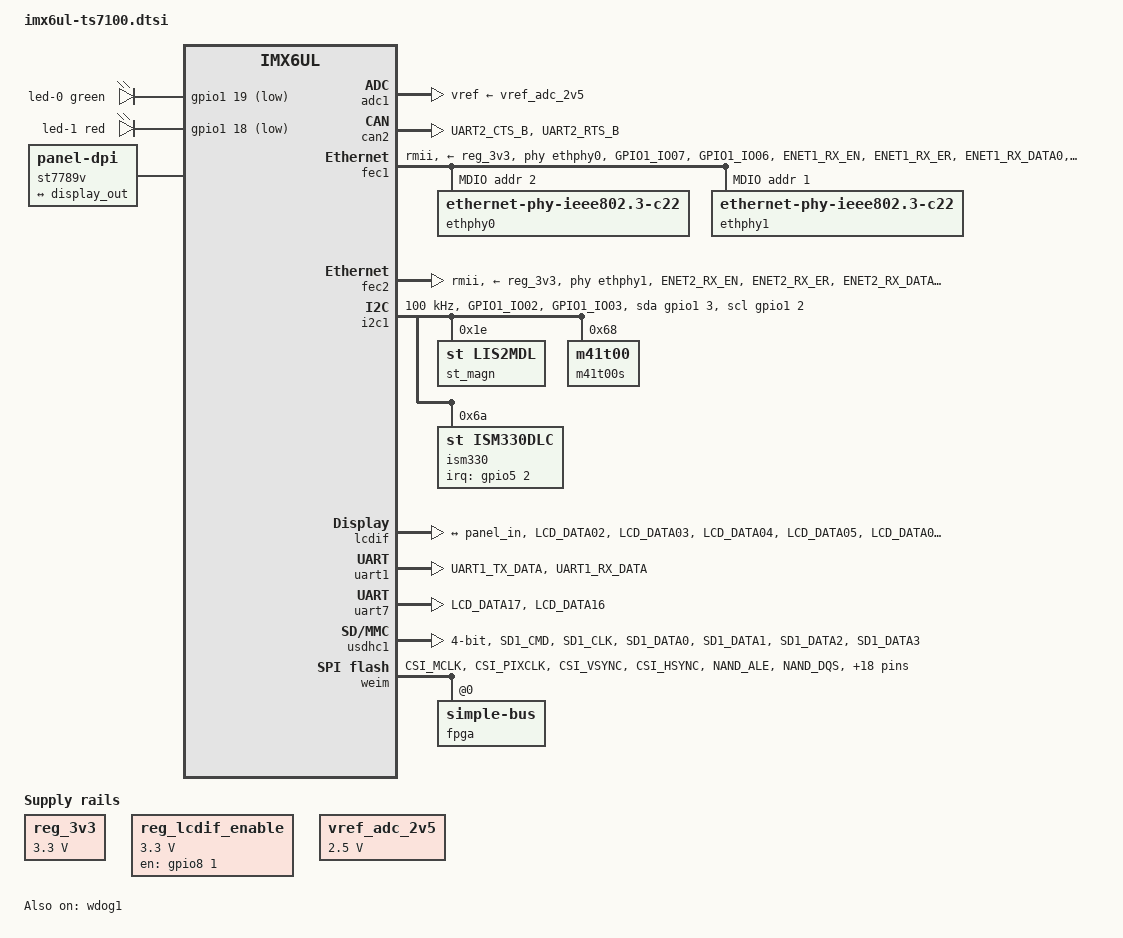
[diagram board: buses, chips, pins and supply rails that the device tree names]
// SPDX-License-Identifier: GPL-2.0+ or X11
/*
 * Copyright (C) 2023 Technologic Systems, Inc. dba embeddedTS
 */

#include <dt-bindings/input/input.h>
#include <dt-bindings/leds/common.h>
#include "imx6ul.dtsi"

/ {
	chosen {
		stdout-path = &uart1;
	};

	memory {
		/* Set by u-boot */
		reg = <0x80000000 0>;
	};

	leds {
		pinctrl-names = "default";
		pinctrl-0 = <&pinctrl_cpu_leds>;
		compatible = "gpio-leds";

		led-0 {
			color = <LED_COLOR_ID_GREEN>;
			function = LED_FUNCTION_POWER;
			gpios = <&gpio1 19 GPIO_ACTIVE_LOW>;
			default-state = "on";
		};

		led-1 {
			color = <LED_COLOR_ID_RED>;
			function = LED_FUNCTION_STATUS;
			gpios = <&gpio1 18 GPIO_ACTIVE_LOW>;
			default-state = "off";
		};
	};

	reg_3v3: rev_3v3 {
		compatible = "regulator-fixed";
		regulator-name = "3V3";
		regulator-min-microvolt = <3300000>;
		regulator-max-microvolt = <3300000>;
	};

	reg_lcdif_enable: en-lcdif {
		compatible = "regulator-fixed";
		regulator-name = "LCDIF_EN";
		regulator-min-microvolt = <3300000>;
		regulator-max-microvolt = <3300000>;
		gpio = <&gpio8 1 GPIO_ACTIVE_HIGH>;
		enable-active-high;
		regulator-boot-on;
		regulator-always-on;
	};

	vref_adc_2v5: adc {
		compatible = "regulator-fixed";
		regulator-name = "ADC_VREF";
		regulator-min-microvolt = <2500000>;
		regulator-max-microvolt = <2500000>;
		regulator-boot-on;
		regulator-always-on;
	};

	panel {
		label = "st7789v";
		compatible = "panel-dpi";
		panel-timing {
			clock-frequency = <7000000>;
			hactive = <240>;
			vactive = <320>;
			hfront-porch = <38>;
			hback-porch = <10>;
			hsync-len = <10>;
			vback-porch = <4>;
			vfront-porch = <8>;
			vsync-len = <4>;
			hsync-active = <0>;
			vsync-active = <0>;
			de-active = <1>;
		};

		port {
			panel_in: endpoint {
				remote-endpoint = <&display_out>;
			};
		};
	};
};

&adc1 {
	pinctrl-names = "default";
	pinctrl-0 = <&pinctrl_adc1>;
	vref-supply = <&vref_adc_2v5>;
	status = "okay";
};

&can2 {
	pinctrl-names = "default";
	pinctrl-0 = <&pinctrl_flexcan2>;
	status = "okay";
};

&fec1 {
	pinctrl-names = "default";
	pinctrl-0 = <&pinctrl_enet1>;
	phy-mode = "rmii";
	phy-handle = <&ethphy0>;
	phy-supply = <&reg_3v3>;
	status = "okay";

	mdio {
		#address-cells = <1>;
		#size-cells = <0>;

		ethphy0: ethernet-phy@0 {
			clocks = <&clks IMX6UL_CLK_ENET_REF>;
			clock-names = "rmii-ref";
			compatible = "ethernet-phy-ieee802.3-c22";
			reg = <2>;
		};

		ethphy1: ethernet-phy@1 {
			clocks = <&clks IMX6UL_CLK_ENET_REF>;
			clock-names = "rmii-ref";
			compatible = "ethernet-phy-ieee802.3-c22";
			reg = <1>;
		};
	};
};

&fec2 {
	pinctrl-names = "default";
	pinctrl-0 = <&pinctrl_enet2>;
	phy-mode = "rmii";
	phy-handle = <&ethphy1>;
	phy-supply = <&reg_3v3>;
	status = "okay";
};

&i2c1 {
	clock-frequency = <100000>;
	pinctrl-names = "default", "gpio";
	pinctrl-0 = <&pinctrl_i2c1>;
	pinctrl-1 = <&pinctrl_i2c1_gpio>;
	scl-gpios = <&gpio1 2 (GPIO_ACTIVE_HIGH | GPIO_OPEN_DRAIN)>;
	sda-gpios = <&gpio1 3 (GPIO_ACTIVE_HIGH | GPIO_OPEN_DRAIN)>;
	status = "okay";

	st_magn: magnetometer@1e {
		compatible = "st,lis2mdl";
		reg = <0x1e>;
		st,drdy-int-pin = <1>;
	};

	m41t00s: rtc@68 {
		compatible = "m41t00";
		reg = <0x68>;
	};

	ism330: gyro@6a {
		compatible = "st,ism330dlc";
		pinctrl-names = "default";
		pinctrl-0 = <&pinctrl_ism330>;
		reg = <0x6a>;
		interrupt-parent = <&gpio5>;
		interrupts = <2 IRQ_TYPE_LEVEL_HIGH>;
	};
};

&iomuxc {
	imx6ul-ts7100 {
		pinctrl_cpu_leds: cpuledgrp {
			fsl,pins = <
				/* Red LED */
				MX6UL_PAD_UART1_CTS_B__GPIO1_IO18	0x1b020
				/* Green LED */
				MX6UL_PAD_UART1_RTS_B__GPIO1_IO19	0x1b020
			>;
		};

		pinctrl_enet1: enet1grp {
			fsl,pins = <
				MX6UL_PAD_GPIO1_IO07__ENET1_MDC		0x1b0b0
				MX6UL_PAD_GPIO1_IO06__ENET1_MDIO	0x1b0b0
				MX6UL_PAD_ENET1_RX_EN__ENET1_RX_EN	0x1b0b0
				MX6UL_PAD_ENET1_RX_ER__ENET1_RX_ER	0x1b0b0
				MX6UL_PAD_ENET1_RX_DATA0__ENET1_RDATA00	0x1b0b0
				MX6UL_PAD_ENET1_RX_DATA1__ENET1_RDATA01	0x1b0b0
				MX6UL_PAD_ENET1_TX_EN__ENET1_TX_EN	0x1b0b0
				MX6UL_PAD_ENET1_TX_DATA0__ENET1_TDATA00	0x1b0b0
				MX6UL_PAD_ENET1_TX_DATA1__ENET1_TDATA01	0x1b0b0
				MX6UL_PAD_ENET1_TX_CLK__ENET1_REF_CLK1	0x4001b031
			>;
		};

		pinctrl_enet2: enet2grp {
			fsl,pins = <
				MX6UL_PAD_ENET2_RX_EN__ENET2_RX_EN	0x1b0b0
				MX6UL_PAD_ENET2_RX_ER__ENET2_RX_ER	0x1b0b0
				MX6UL_PAD_ENET2_RX_DATA0__ENET2_RDATA00	0x1b0b0
				MX6UL_PAD_ENET2_RX_DATA1__ENET2_RDATA01	0x1b0b0
				MX6UL_PAD_ENET2_TX_EN__ENET2_TX_EN	0x1b0b0
				MX6UL_PAD_ENET2_TX_DATA0__ENET2_TDATA00	0x1b0b0
				MX6UL_PAD_ENET2_TX_DATA1__ENET2_TDATA01	0x1b0b0
				MX6UL_PAD_ENET2_TX_CLK__ENET2_REF_CLK2	0x4001b031
			>;
		};

		pinctrl_flexcan2: flexcan2grp {
			fsl,pins = <
				MX6UL_PAD_UART2_CTS_B__FLEXCAN2_TX	0x1b020
				MX6UL_PAD_UART2_RTS_B__FLEXCAN2_RX	0x1b020
			>;
		};

		pinctrl_ism330: ism330grp {
			fsl,pins = <
				MX6UL_PAD_SNVS_TAMPER2__GPIO5_IO02	0x1b020
			>;
		};

		pinctrl_i2c1: i2c1grp {
			fsl,pins = <
				MX6UL_PAD_GPIO1_IO02__I2C1_SCL        0x4001a8b0
				MX6UL_PAD_GPIO1_IO03__I2C1_SDA        0x4001a8b0
			>;
		};

		pinctrl_i2c1_gpio: i2c1grpgpio {
			fsl,pins = <
				MX6UL_PAD_GPIO1_IO02__GPIO1_IO02      0x4001a8b0
				MX6UL_PAD_GPIO1_IO03__GPIO1_IO03      0x4001a8b0
			>;
		};

		pinctrl_lcd_ctrl: lcd_ctrl {
			fsl,pins = <
				/*
				 * All pins are: Hyst., 100k PU, Med. speed,
				 * High DSE, Fast SR.
				 */
				MX6UL_PAD_LCD_DATA02__LCDIF_DATA02	0x1b0b9
				MX6UL_PAD_LCD_DATA03__LCDIF_DATA03	0x1b0b9
				MX6UL_PAD_LCD_DATA04__LCDIF_DATA04	0x1b0b9
				MX6UL_PAD_LCD_DATA05__LCDIF_DATA05	0x1b0b9
				MX6UL_PAD_LCD_DATA06__LCDIF_DATA06	0x1b0b9
				MX6UL_PAD_LCD_DATA07__LCDIF_DATA07	0x1b0b9
				MX6UL_PAD_LCD_DATA10__LCDIF_DATA10	0x1b0b9
				MX6UL_PAD_LCD_DATA11__LCDIF_DATA11	0x1b0b9
				MX6UL_PAD_LCD_DATA12__LCDIF_DATA12	0x1b0b9
				MX6UL_PAD_LCD_DATA13__LCDIF_DATA13	0x1b0b9
				MX6UL_PAD_LCD_DATA14__LCDIF_DATA14	0x1b0b9
				MX6UL_PAD_LCD_DATA15__LCDIF_DATA15	0x1b0b9
				MX6UL_PAD_LCD_DATA18__LCDIF_DATA18	0x1b0b9
				MX6UL_PAD_LCD_DATA19__LCDIF_DATA19	0x1b0b9
				MX6UL_PAD_LCD_DATA20__LCDIF_DATA20	0x1b0b9
				MX6UL_PAD_LCD_DATA21__LCDIF_DATA21	0x1b0b9
				MX6UL_PAD_LCD_DATA22__LCDIF_DATA22	0x1b0b9
				MX6UL_PAD_LCD_DATA23__LCDIF_DATA23	0x1b0b9

				MX6UL_PAD_LCD_CLK__LCDIF_CLK		0x1b0b9
				MX6UL_PAD_LCD_ENABLE__LCDIF_ENABLE	0x1b0b9
				MX6UL_PAD_LCD_HSYNC__LCDIF_HSYNC	0x1b0b9
				MX6UL_PAD_LCD_VSYNC__LCDIF_VSYNC	0x1b0b9
			>;
		};

		pinctrl_uart1: uart1grp {
			fsl,pins = <
				MX6UL_PAD_UART1_TX_DATA__UART1_DCE_TX	0x1b0b1
				MX6UL_PAD_UART1_RX_DATA__UART1_DCE_RX	0x1b0b1
			>;
		};

		pinctrl_uart7: uart7grp {
			fsl,pins = <
				MX6UL_PAD_LCD_DATA17__UART7_DCE_RX	0x1b0b1
				MX6UL_PAD_LCD_DATA16__UART7_DCE_TX	0x1b0b1
			>;
		};

		pinctrl_usdhc1: usdhc1grp {
			fsl,pins = <
				MX6UL_PAD_SD1_CMD__USDHC1_CMD		0x17059
				MX6UL_PAD_SD1_CLK__USDHC1_CLK		0x10071
				MX6UL_PAD_SD1_DATA0__USDHC1_DATA0	0x17059
				MX6UL_PAD_SD1_DATA1__USDHC1_DATA1	0x17059
				MX6UL_PAD_SD1_DATA2__USDHC1_DATA2	0x17059
				MX6UL_PAD_SD1_DATA3__USDHC1_DATA3	0x17059
			>;
		};

		pinctrl_weim_fpga: weimfpgagrp {
			fsl,pins = <
				MX6UL_PAD_CSI_MCLK__GPIO4_IO17		0xb029
				MX6UL_PAD_CSI_PIXCLK__EIM_OE		0x1b029
				MX6UL_PAD_CSI_VSYNC__EIM_RW		0x1b029
				MX6UL_PAD_CSI_HSYNC__EIM_LBA_B		0x1b029
				MX6UL_PAD_NAND_ALE__GPIO4_IO10		0x1b029
				MX6UL_PAD_NAND_DQS__EIM_WAIT		0x1b029
				MX6UL_PAD_NAND_WP_B__EIM_BCLK		0x1b029
				MX6UL_PAD_NAND_DATA07__EIM_AD15		0x1b029
				MX6UL_PAD_NAND_DATA06__EIM_AD14		0x1b029
				MX6UL_PAD_NAND_DATA05__EIM_AD13		0x1b029
				MX6UL_PAD_NAND_DATA04__EIM_AD12		0x1b029
				MX6UL_PAD_NAND_DATA03__EIM_AD11		0x1b029
				MX6UL_PAD_NAND_DATA02__EIM_AD10		0x1b029
				MX6UL_PAD_NAND_DATA01__EIM_AD09		0x1b029
				MX6UL_PAD_NAND_DATA00__EIM_AD08		0x1b029
				MX6UL_PAD_CSI_DATA07__EIM_AD07		0x1b029
				MX6UL_PAD_CSI_DATA06__EIM_AD06		0x1b029
				MX6UL_PAD_CSI_DATA05__EIM_AD05		0x1b029
				MX6UL_PAD_CSI_DATA04__EIM_AD04		0x1b029
				MX6UL_PAD_CSI_DATA03__EIM_AD03		0x1b029
				MX6UL_PAD_CSI_DATA02__EIM_AD02		0x1b029
				MX6UL_PAD_CSI_DATA01__EIM_AD01		0x1b029
				MX6UL_PAD_CSI_DATA00__EIM_AD00		0x1b029
				/* FPGA IRQ */
				MX6UL_PAD_SNVS_TAMPER1__GPIO5_IO01	0x1b029
			>;
		};

		pinctrl_wdog: wdoggrp {
			fsl,pins = <
				MX6UL_PAD_LCD_RESET__WDOG1_WDOG_ANY    0x30b0
			>;
		};
	};
};

&lcdif {
	pinctrl-names = "default";
	pinctrl-0 = <&pinctrl_lcd_ctrl>;
	lcd-supply = <&reg_lcdif_enable>;
	status = "okay";

	port {
		display_out: endpoint {
			remote-endpoint = <&panel_in>;
		};
	};
};

&snvs_rtc {
	status = "disabled";
};

&uart1 {
	pinctrl-names = "default";
	pinctrl-0 = <&pinctrl_uart1>;
	status = "okay";
};

&uart7 {
	pinctrl-names = "default";
	pinctrl-0 = <&pinctrl_uart7>;
	status = "okay";
};

&usdhc1 {
	pinctrl-names = "default";
	pinctrl-0 = <&pinctrl_usdhc1>;
	no-1-8-v;
	disable-wp;
	broken-cd = <1>;
	bus-width = <4>;
	status = "okay";
};

&wdog1 {
	pinctrl-names = "default";
	pinctrl-0 = <&pinctrl_wdog>;
	status = "okay";
	fsl,ext-reset-output;
};

&weim {
	pinctrl-names = "default";
	pinctrl-0 = <&pinctrl_weim_fpga>;
	clocks = <&clks IMX6UL_CLK_EIM>, <&clks IMX6UL_CLK_EIM_SLOW_SEL>;
	ranges = <0 0 0x50000000 0x08000000>;
	status = "okay";

	#address-cells = <2>;
	#size-cells = <1>;

	fpga: fpgabus@50000000 {
		compatible = "simple-bus";
		reg = <0 0x50000000 0x00010000>;
		#address-cells = <1>;
		#size-cells = <1>;
		ranges = <0 0 0 0x10000>;

		fsl,weim-cs-timing = <
			0x0161030F	// EIM_CSnGCR1 @ 0x021b8000
			0x00000000	// EIM_CSnGCR2 @ 0x021b8004
			0x03000000	// EIM_CSnRCR1 @ 0x021b8008
			0x00000000	// EIM_CSnRCR2 @ 0x021b800c
			0x01000000	// EIM_CSnWCR1 @ 0x021b8010
			0		// EIM_CSnWCR2 @ 0x021b8014
		>;

		fpga_clk_weim_bclk: fpga_clk_weim_bclk {
			#clock-cells = <0>;
			compatible = "fixed-clock";
			clock-frequency = <49500000>;
		};

		syscon: syscon@50004000 {
			compatible = "simple-bus";
			#address-cells = <0x2>;
			#size-cells = <0x1>;
			reg = <0x4000 0x58>;
			ranges = <0 0 0x4000 0x58>;

			gpio6: gpio@50004010 {
				compatible = "technologic,ts71xxweim-gpio";
				reg = <0 0x10 0x08>;
				gpio-controller;
				#gpio-cells = <2>;
				interrupt-controller;
				#interrupt-cells = <1>;
			};

			gpio7: gpio@50004040 {
				compatible = "technologic,ts71xxweim-gpio";
				reg = <0 0x40 0x08>;
				gpio-controller;
				#gpio-cells = <2>;
				interrupt-controller;
				#interrupt-cells = <1>;
			};

			gpio8: gpio@50004050 {
				compatible = "technologic,ts71xxweim-gpio";
				reg = <0 0x50 0x08>;
				gpio-controller;
				#gpio-cells = <2>;
				interrupt-controller;
				#interrupt-cells = <1>;
			};

			fpga_intc: interrupt-controller@50004024 {
				compatible = "technologic,ts71xxweim-intc";

				interrupt-controller;
				#interrupt-cells = <1>;
				reg = <0 0x00 0x50>;

				interrupt-parent = <&gpio5>;
				interrupts = <1 IRQ_TYPE_LEVEL_HIGH>;
			};
		};

		fpga_uart0: serial@50000000 {
			compatible = "ns16550a";
			device_type = "serial";
			current-speed = <115200>;
			reg-shift = <1>;
			reg-io-width = <1>;
			reg = <0 16>;
			clock-frequency = <1843200>;
			interrupt-parent = <&fpga_intc>;
			interrupts = <0>;
		};

		opencores_spi0: spi@50000100 {
			#address-cells = <1>;
			#size-cells = <0>;
			compatible = "opencores,spi-oc";
			reg = <0x100 32>;
			interrupt-parent = <&fpga_intc>;
			interrupts = <9>;
			clocks = <&fpga_clk_weim_bclk>;
			clock-names = "spi-oc-clk";
			opencores-spi,idx = <0>;
			opencores-spi,num-chipselects = <2>;

			spifram: eeprom@0 {
				compatible = "atmel,at25";
				reg = <0>;
				spi-max-frequency = <20000000>;
				size = <0x800>;
				address-width = <16>;
				pagesize = <64>;
			};

			spisplash: spi@1 {
				compatible = "jedec,spi-nor";
				reg = <1>;
				spi-max-frequency = <20000000>;
			};
		};

		opencores_spi1: spi@50000120 {
			#address-cells = <1>;
			#size-cells = <0>;
			compatible = "opencores,spi-oc";
			reg = <0x120 32>;
			interrupt-parent = <&fpga_intc>;
			interrupts = <10>;
			clocks = <&fpga_clk_weim_bclk>;
			clock-names = "spi-oc-clk";
			opencores-spi,idx = <1>;
			opencores-spi,num-chipselects = <1>;

			/* Touch screen SPI interface */
			touch_spi: touch_spi@0 {
				reg = <0>;
				compatible = "ti,tsc2046";
				spi-max-frequency = <1000000>;
				interrupt-parent = <&fpga_intc>;
				interrupts = <16>;
				pendown-gpio = <&gpio8 0 GPIO_ACTIVE_HIGH>;

				ti,vref-mv = /bits/ 16 <3300>;
				ti,keep-vref-on;
				ti,settle-delay-usec = /bits/ 16 <5000>;
				ti,vref-delay-usecs = /bits/ 16 <0>;
				ti,x-plate-ohms = /bits/ 16 <292>;
				ti,y-plate-ohms = /bits/ 16 <584>;
				ti,pressure-min = /bits/ 16 <300>;
				linux,wakeup;
			};
		};
	 };
};
